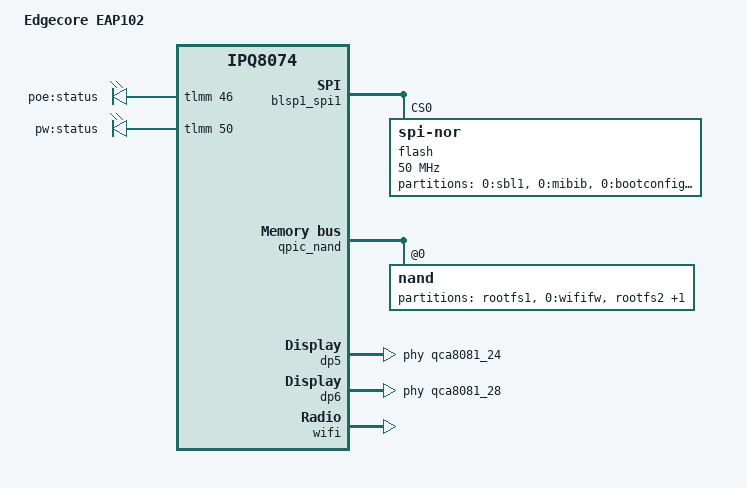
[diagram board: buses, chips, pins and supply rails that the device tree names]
// SPDX-License-Identifier: GPL-2.0-or-later OR MIT

/dts-v1/;

#include "ipq8071-edgecore.dtsi"

/ {
	model = "Edgecore EAP102";
	compatible = "edgecore,eap102", "qcom,ipq8074";

	leds {
		compatible = "gpio-leds";

		led_poe: poe {
			label = "poe:status";
			gpios = <&tlmm 46 GPIO_ACTIVE_HIGH>;
		};

		led_pw: pw {
			label = "pw:status";
			gpios = <&tlmm 50 GPIO_ACTIVE_HIGH>;
		};
	};
};

&blsp1_spi1 {
	status = "okay";

	flash@0 {
		compatible = "jedec,spi-nor";
		spi-max-frequency = <50000000>;
		reg = <0>;

		partitions {
			compatible = "fixed-partitions";
			#address-cells = <1>;
			#size-cells = <1>;

			partition@0 {
				label = "0:sbl1";
				reg = <0x00000000 0x00050000>;
				read-only;
			};

			partition@50000 {
				label = "0:mibib";
				reg = <0x00050000 0x00010000>;
				read-only;
			};

			partition@60000 {
				label = "0:bootconfig";
				reg = <0x00060000 0x00020000>;
				read-only;
			};

			partition@80000 {
				label = "0:bootconfig1";
				reg = <0x00080000 0x00020000>;
				read-only;
			};

			partition@a0000 {
				label = "0:qsee";
				reg = <0x000a0000 0x00180000>;
				read-only;
			};

			partition@220000 {
				label = "0:qsee_1";
				reg = <0x00220000 0x00180000>;
				read-only;
			};

			partition@3a0000 {
				label = "0:devcfg";
				reg = <0x003a0000 0x00010000>;
				read-only;
			};

			partition@3b0000 {
				label = "0:devcfg_1";
				reg = <0x003b0000 0x00010000>;
				read-only;
			};

			partition@3c0000 {
				label = "0:apdp";
				reg = <0x003c0000 0x00010000>;
				read-only;
			};

			partition@3d0000 {
				label = "0:apdp_1";
				reg = <0x003d0000 0x00010000>;
				read-only;
			};

			partition@3e0000 {
				label = "0:rpm";
				reg = <0x003e0000 0x00040000>;
				read-only;
			};

			partition@420000 {
				label = "0:rpm_1";
				reg = <0x00420000 0x00040000>;
				read-only;
			};

			partition@460000 {
				label = "0:cdt";
				reg = <0x00460000 0x00010000>;
				read-only;
			};

			partition@470000 {
				label = "0:cdt_1";
				reg = <0x00470000 0x00010000>;
				read-only;
			};

			partition@480000 {
				label = "0:appsblenv";
				reg = <0x00480000 0x00010000>;
			};

			partition@490000 {
				label = "0:appsbl";
				reg = <0x00490000 0x000c0000>;
				read-only;
			};

			partition@550000 {
				label = "0:appsbl_1";
				reg = <0x00530000 0x000c0000>;
				read-only;
			};

			partition@610000 {
				label = "0:art";
				reg = <0x00610000 0x00040000>;
				read-only;
			};

			partition@650000 {
				label = "0:ethphyfw";
				reg = <0x00650000 0x00080000>;
				read-only;
			};

			partition@6d0000 {
				label = "0:product_info";
				reg = <0x006d0000 0x00080000>;
				read-only;
			};

			partition@750000 {
				label = "priv_data1";
				reg = <0x00750000 0x00010000>;
				read-only;
			};

			partition@760000 {
				label = "priv_data2";
				reg = <0x00760000 0x00010000>;
				read-only;
			};
		};
	};
};

&qpic_nand {
	status = "okay";

	partitions {
		status = "disabled";
	};

	nand@0 {
		reg = <0>;

		nand-ecc-strength = <8>;
		nand-ecc-step-size = <512>;
		nand-bus-width = <8>;

		partitions {
			compatible = "fixed-partitions";
			#address-cells = <1>;
			#size-cells = <1>;

			partition@0 {
				label = "rootfs1";
				reg = <0x00000000 0x03400000>;
			};

			partition@3400000 {
				label = "0:wififw";
				reg = <0x03400000 0x00800000>;
				read-only;
			};

			partition@3c00000 {
				label = "rootfs2";
				reg = <0x03c00000 0x03400000>;
			};

			partition@7000000 {
				label = "0:wififw_1";
				reg = <0x07000000 0x00800000>;
				read-only;
			};
		};
	};
};

&dp5 {
	status = "okay";
	phy-handle = <&qca8081_24>;
	label = "lan";
};

&dp6 {
	status = "okay";
	phy-handle = <&qca8081_28>;
	label = "wan";
};

&wifi {
	status = "okay";
	qcom,ath11k-fw-memory-mode = <1>;
	qcom,ath11k-calibration-variant = "Edgecore-EAP102";
};
